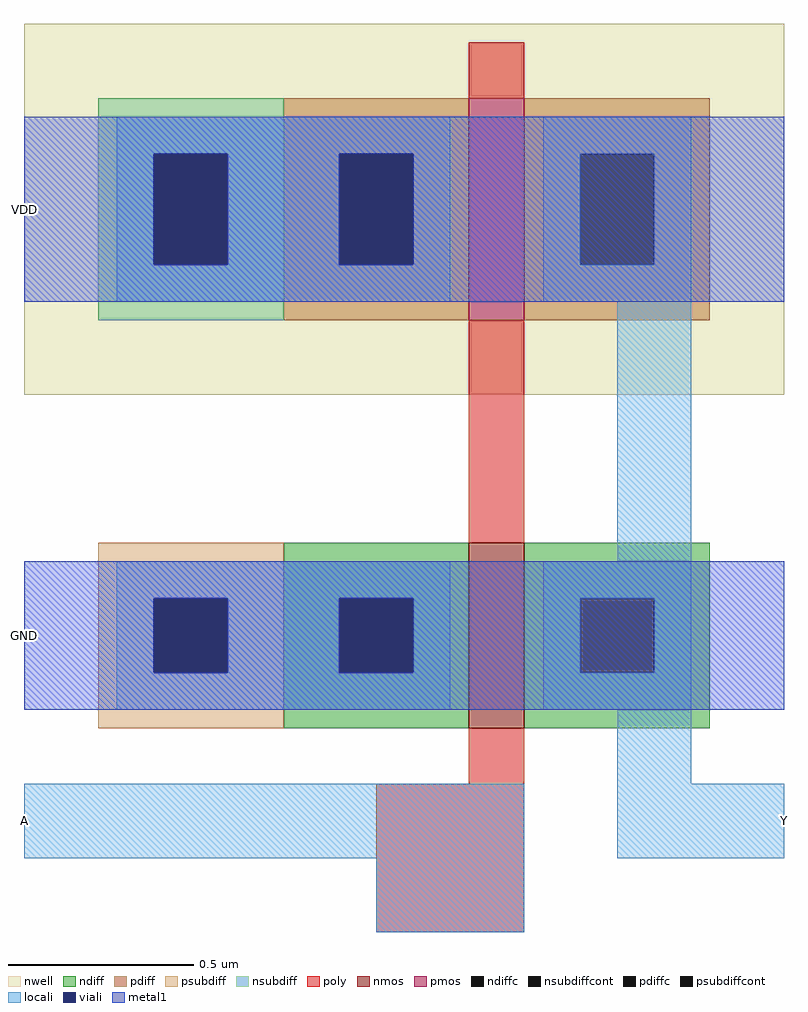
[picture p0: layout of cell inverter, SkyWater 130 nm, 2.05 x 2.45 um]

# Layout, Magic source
magic
tech sky130A
<< nwell >>
rect -70 90 135 190
<< nmos >>
rect 50 0 65 50
<< pmos >>
rect 50 110 65 170
<< ndiff >>
rect 0 35 50 50
rect 0 15 15 35
rect 35 15 50 35
rect 0 0 50 15
rect 65 35 115 50
rect 65 15 80 35
rect 100 15 115 35
rect 65 0 115 15
<< pdiff >>
rect 0 155 50 170
rect 0 125 15 155
rect 35 125 50 155
rect 0 110 50 125
rect 65 155 115 170
rect 65 125 80 155
rect 100 125 115 155
rect 65 110 115 125
<< ndiffc >>
rect 15 15 35 35
rect 80 15 100 35
<< pdiffc >>
rect 15 125 35 155
rect 80 125 100 155
<< psubdiff >>
rect -50 35 0 50
rect -50 15 -35 35
rect -15 15 0 35
rect -50 0 0 15
<< nsubdiff >>
rect -50 155 0 170
rect -50 125 -35 155
rect -15 125 0 155
rect -50 110 0 125
<< psubdiffcont >>
rect -35 15 -15 35
<< nsubdiffcont >>
rect -35 125 -15 155
<< poly >>
rect 50 170 65 185
rect 50 50 65 110
rect 50 -15 65 0
rect 25 -55 65 -15
<< locali >>
rect -45 155 45 165
rect -45 125 -35 155
rect -15 125 15 155
rect 35 125 45 155
rect -45 115 45 125
rect 70 155 110 165
rect 70 125 80 155
rect 100 125 110 155
rect 70 115 110 125
rect 90 45 110 115
rect -45 35 45 45
rect -45 15 -35 35
rect -15 15 15 35
rect 35 15 45 35
rect -45 5 45 15
rect 70 35 110 45
rect 70 15 80 35
rect 100 15 110 35
rect 70 5 110 15
rect 90 -15 110 5
rect -70 -35 65 -15
rect 90 -35 135 -15
rect 25 -55 65 -35
<< viali >>
rect -35 125 -15 155
rect 15 125 35 155
rect -35 15 -15 35
rect 15 15 35 35
<< metal1 >>
rect -70 155 135 165
rect -70 125 -35 155
rect -15 125 15 155
rect 35 125 135 155
rect -70 115 135 125
rect -70 35 135 45
rect -70 15 -35 35
rect -15 15 15 35
rect 35 15 135 35
rect -70 5 135 15
<< labels >>
flabel locali -70 -25 -70 -25 7 FreeSans 80 0 -40 0 A
flabel metal1 -70 25 -70 25 7 FreeSans 80 0 -40 0 GND
flabel metal1 -70 140 -70 140 7 FreeSans 80 0 -40 0 VDD
flabel locali 135 -25 135 -25 3 FreeSans 80 0 40 0 Y
<< end >>
